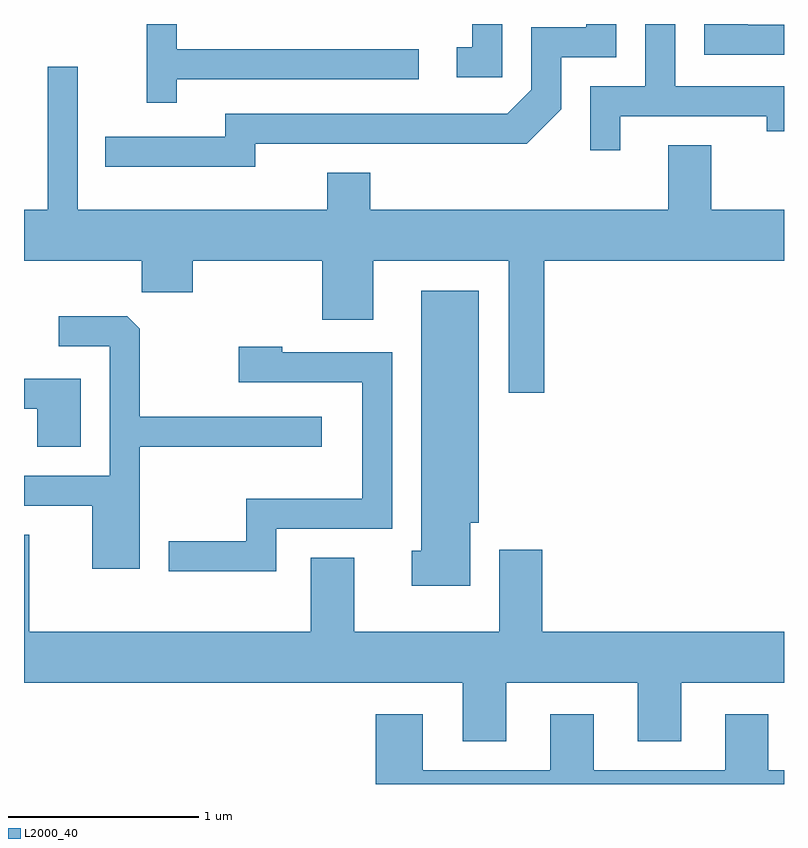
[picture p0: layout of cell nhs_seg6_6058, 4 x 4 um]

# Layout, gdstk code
import gdstk
lib = gdstk.Library(unit=1e-6, precision=1e-09)
def P(c, l, *ps):  # polygons
    for p in ps: c.add(gdstk.Polygon(p, *l))
L2000_40 = (2000, 40)

nhs_seg6_6058 = lib.new_cell('nhs_seg6_6058')
P(nhs_seg6_6058, L2000_40, [(370.414,1559.871),(371.688,1559.871),(371.688,1560.029),(370.414,1560.029),(370.414,1560.162),(370.256,1560.162),(370.256,1559.748),(370.414,1559.748)],
  [(370.829,1559.531),(372.257,1559.531),(372.439,1559.714),(372.439,1559.986),(372.729,1559.986),(372.729,1560.162),(372.571,1560.162),(372.571,1560.144),(372.281,1560.144),(372.281,1559.817),(372.154,1559.689),(370.671,1559.689),(370.671,1559.569),(370.038,1559.569),(370.038,1559.411),(370.829,1559.411)],
  [(373.611,1560.159),(373.419,1560.159),(373.419,1560.162),(373.191,1560.162),(373.191,1560.001),(373.611,1560.001)],
  [(372.749,1559.676),(373.521,1559.676),(373.521,1559.598),(373.611,1559.598),(373.611,1559.834),(373.039,1559.834),(373.039,1560.162),(372.881,1560.162),(372.881,1559.834),(372.591,1559.834),(372.591,1559.498),(372.749,1559.498)],
  [(372.129,1560.162),(371.971,1560.162),(371.971,1560.039),(371.888,1560.039),(371.888,1559.881),(372.129,1559.881)],
  [(369.736,1559.938),(369.736,1559.184),(369.611,1559.184),(369.611,1558.916),(370.231,1558.916),(370.231,1558.751),(370.499,1558.751),(370.499,1558.916),(371.181,1558.916),(371.181,1558.606),(371.449,1558.606),(371.449,1558.916),(372.161,1558.916),(372.161,1558.221),(372.349,1558.221),(372.349,1558.916),(373.611,1558.916),(373.611,1559.184),(373.229,1559.184),(373.229,1559.524),(373.001,1559.524),(373.001,1559.184),(371.434,1559.184),(371.434,1559.379),(371.206,1559.379),(371.206,1559.184),(369.894,1559.184),(369.894,1559.938)],
  [(371.959,1557.536),(372.004,1557.536),(372.004,1558.759),(371.701,1558.759),(371.701,1557.389),(371.651,1557.389),(371.651,1557.206),(371.959,1557.206)],
  [(370.219,1557.936),(371.178,1557.936),(371.178,1558.094),(370.219,1558.094),(370.219,1558.559),(370.154,1558.624),(369.793,1558.624),(369.793,1558.466),(370.061,1558.466),(370.061,1557.784),(369.611,1557.784),(369.611,1557.626),(369.971,1557.626),(369.971,1557.296),(370.219,1557.296)],
  [(370.939,1557.506),(371.549,1557.506),(371.549,1558.434),(370.969,1558.434),(370.969,1558.464),(370.741,1558.464),(370.741,1558.276),(371.391,1558.276),(371.391,1557.664),(370.781,1557.664),(370.781,1557.439),(370.373,1557.439),(370.373,1557.281),(370.939,1557.281)],
  [(369.909,1558.294),(369.611,1558.294),(369.611,1558.136),(369.681,1558.136),(369.681,1557.936),(369.909,1557.936)],
  [(372.149,1556.696),(372.841,1556.696),(372.841,1556.386),(373.069,1556.386),(373.069,1556.696),(373.611,1556.696),(373.611,1556.964),(372.339,1556.964),(372.339,1557.394),(372.111,1557.394),(372.111,1556.964),(371.349,1556.964),(371.349,1557.354),(371.121,1557.354),(371.121,1556.964),(369.639,1556.964),(369.639,1557.474),(369.611,1557.474),(369.611,1556.696),(371.921,1556.696),(371.921,1556.386),(372.149,1556.386)],
  [(373.611,1556.234),(373.529,1556.234),(373.529,1556.529),(373.301,1556.529),(373.301,1556.234),(372.609,1556.234),(372.609,1556.529),(372.381,1556.529),(372.381,1556.234),(371.709,1556.234),(371.709,1556.529),(371.461,1556.529),(371.461,1556.162),(373.611,1556.162)])

lib.write_gds('nhs_seg6_6058.gds')
